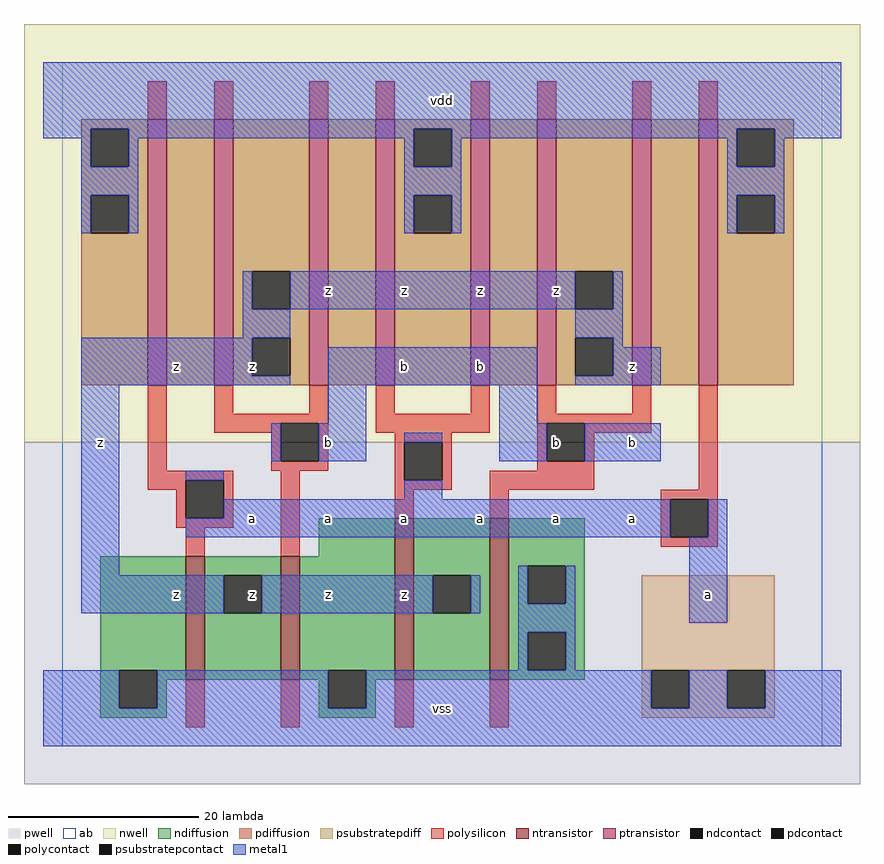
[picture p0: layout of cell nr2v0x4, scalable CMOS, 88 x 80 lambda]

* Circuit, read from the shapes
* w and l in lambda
.subckt nr2v0x4 a b vdd vss z
M1 z a vss vss nfet w=13 l=2
M2 vss b z vss nfet w=13 l=2
M3 z a vss vss nfet w=17 l=2
M4 vss b z vss nfet w=17 l=2
M5 n1 a vdd n2 pfet w=28 l=2
M6 z b n1 n2 pfet w=28 l=2
M7 n3 b z n2 pfet w=28 l=2
M8 vdd a n3 n2 pfet w=28 l=2
M9 n4 a vdd n2 pfet w=28 l=2
M10 z b n4 n2 pfet w=28 l=2
M11 n5 b z n2 pfet w=28 l=2
M12 vdd a n5 n2 pfet w=28 l=2
.ends

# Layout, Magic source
magic
tech scmos
<< ab >>
rect 0 0 80 72
<< pwell >>
rect -4 -4 84 32
<< nwell >>
rect -4 32 84 76
<< polysilicon >>
rect 9 66 11 70
rect 16 66 18 70
rect 26 66 28 70
rect 33 66 35 70
rect 43 66 45 70
rect 50 66 52 70
rect 60 66 62 70
rect 67 66 69 70
rect 9 29 11 38
rect 16 35 18 38
rect 26 35 28 38
rect 16 34 28 35
rect 16 33 23 34
rect 22 30 23 33
rect 27 30 28 34
rect 33 35 35 38
rect 43 35 45 38
rect 33 33 45 35
rect 50 35 52 38
rect 60 35 62 38
rect 50 34 62 35
rect 22 29 28 30
rect 35 32 41 33
rect 9 28 18 29
rect 9 27 13 28
rect 12 24 13 27
rect 17 24 18 28
rect 12 23 18 24
rect 13 20 15 23
rect 23 20 25 29
rect 35 28 36 32
rect 40 28 41 32
rect 50 30 51 34
rect 55 33 62 34
rect 55 30 56 33
rect 50 29 56 30
rect 35 27 41 28
rect 45 27 56 29
rect 67 27 69 38
rect 35 24 37 27
rect 45 24 47 27
rect 63 26 69 27
rect 13 2 15 7
rect 23 2 25 7
rect 63 22 64 26
rect 68 22 69 26
rect 63 21 69 22
rect 35 2 37 7
rect 45 2 47 7
<< ndiffusion >>
rect 27 20 35 24
rect 4 8 13 20
rect 4 4 6 8
rect 10 7 13 8
rect 15 18 23 20
rect 15 14 17 18
rect 21 14 23 18
rect 15 7 23 14
rect 25 8 35 20
rect 25 7 28 8
rect 10 4 11 7
rect 4 3 11 4
rect 27 4 28 7
rect 32 7 35 8
rect 37 18 45 24
rect 37 14 39 18
rect 43 14 45 18
rect 37 7 45 14
rect 47 19 55 24
rect 47 15 49 19
rect 53 15 55 19
rect 47 12 55 15
rect 47 8 49 12
rect 53 8 55 12
rect 47 7 55 8
rect 32 4 33 7
rect 27 3 33 4
<< pdiffusion >>
rect 2 65 9 66
rect 2 61 3 65
rect 7 61 9 65
rect 2 58 9 61
rect 2 54 3 58
rect 7 54 9 58
rect 2 38 9 54
rect 11 38 16 66
rect 18 50 26 66
rect 18 46 20 50
rect 24 46 26 50
rect 18 43 26 46
rect 18 39 20 43
rect 24 39 26 43
rect 18 38 26 39
rect 28 38 33 66
rect 35 65 43 66
rect 35 61 37 65
rect 41 61 43 65
rect 35 58 43 61
rect 35 54 37 58
rect 41 54 43 58
rect 35 38 43 54
rect 45 38 50 66
rect 52 50 60 66
rect 52 46 54 50
rect 58 46 60 50
rect 52 43 60 46
rect 52 39 54 43
rect 58 39 60 43
rect 52 38 60 39
rect 62 38 67 66
rect 69 65 77 66
rect 69 61 71 65
rect 75 61 77 65
rect 69 58 77 61
rect 69 54 71 58
rect 75 54 77 58
rect 69 38 77 54
<< metal1 >>
rect -2 65 82 72
rect -2 64 3 65
rect 2 61 3 64
rect 7 64 37 65
rect 7 61 8 64
rect 2 58 8 61
rect 2 54 3 58
rect 7 54 8 58
rect 36 61 37 64
rect 41 64 71 65
rect 41 61 42 64
rect 36 58 42 61
rect 36 54 37 58
rect 41 54 42 58
rect 70 61 71 64
rect 75 64 82 65
rect 75 61 76 64
rect 70 58 76 61
rect 70 54 71 58
rect 75 54 76 58
rect 19 46 20 50
rect 24 46 54 50
rect 58 46 59 50
rect 19 43 24 46
rect 2 39 20 43
rect 54 43 59 46
rect 2 38 24 39
rect 28 38 50 42
rect 58 42 59 43
rect 58 39 63 42
rect 54 38 63 39
rect 2 18 6 38
rect 28 34 32 38
rect 22 30 23 34
rect 27 30 32 34
rect 46 34 50 38
rect 36 32 40 33
rect 13 28 17 29
rect 46 30 51 34
rect 55 30 63 34
rect 36 26 40 28
rect 17 24 64 26
rect 13 22 64 24
rect 68 22 70 26
rect 2 14 17 18
rect 21 14 39 18
rect 43 14 44 18
rect 48 15 49 19
rect 53 15 54 19
rect 48 12 54 15
rect 66 13 70 22
rect 48 8 49 12
rect 53 8 54 12
rect -2 4 6 8
rect 10 4 28 8
rect 32 4 62 8
rect 66 4 70 8
rect 74 4 82 8
rect -2 0 82 4
<< ntransistor >>
rect 13 7 15 20
rect 23 7 25 20
rect 35 7 37 24
rect 45 7 47 24
<< ptransistor >>
rect 9 38 11 66
rect 16 38 18 66
rect 26 38 28 66
rect 33 38 35 66
rect 43 38 45 66
rect 50 38 52 66
rect 60 38 62 66
rect 67 38 69 66
<< polycontact >>
rect 23 30 27 34
rect 13 24 17 28
rect 36 28 40 32
rect 51 30 55 34
rect 64 22 68 26
<< ndcontact >>
rect 6 4 10 8
rect 17 14 21 18
rect 28 4 32 8
rect 39 14 43 18
rect 49 15 53 19
rect 49 8 53 12
<< pdcontact >>
rect 3 61 7 65
rect 3 54 7 58
rect 20 46 24 50
rect 20 39 24 43
rect 37 61 41 65
rect 37 54 41 58
rect 54 46 58 50
rect 54 39 58 43
rect 71 61 75 65
rect 71 54 75 58
<< psubstratepcontact >>
rect 62 4 66 8
rect 70 4 74 8
<< psubstratepdiff >>
rect 61 8 75 18
rect 61 4 62 8
rect 66 4 70 8
rect 74 4 75 8
rect 61 3 75 4
<< labels >>
rlabel metal1 4 32 4 32 6 z
rlabel ndcontact 20 16 20 16 6 z
rlabel metal1 28 16 28 16 6 z
rlabel metal1 12 16 12 16 6 z
rlabel metal1 20 24 20 24 6 a
rlabel metal1 28 24 28 24 6 a
rlabel metal1 28 32 28 32 6 b
rlabel metal1 12 40 12 40 6 z
rlabel metal1 20 40 20 40 6 z
rlabel metal1 28 48 28 48 6 z
rlabel metal1 40 4 40 4 6 vss
rlabel metal1 36 16 36 16 6 z
rlabel metal1 36 24 36 24 6 a
rlabel metal1 44 24 44 24 6 a
rlabel metal1 36 40 36 40 6 b
rlabel metal1 44 40 44 40 6 b
rlabel metal1 36 48 36 48 6 z
rlabel metal1 44 48 44 48 6 z
rlabel metal1 40 68 40 68 6 vdd
rlabel metal1 52 24 52 24 6 a
rlabel metal1 60 24 60 24 6 a
rlabel metal1 60 32 60 32 6 b
rlabel polycontact 52 32 52 32 6 b
rlabel metal1 60 40 60 40 6 z
rlabel metal1 52 48 52 48 6 z
rlabel metal1 68 16 68 16 6 a
<< end >>
